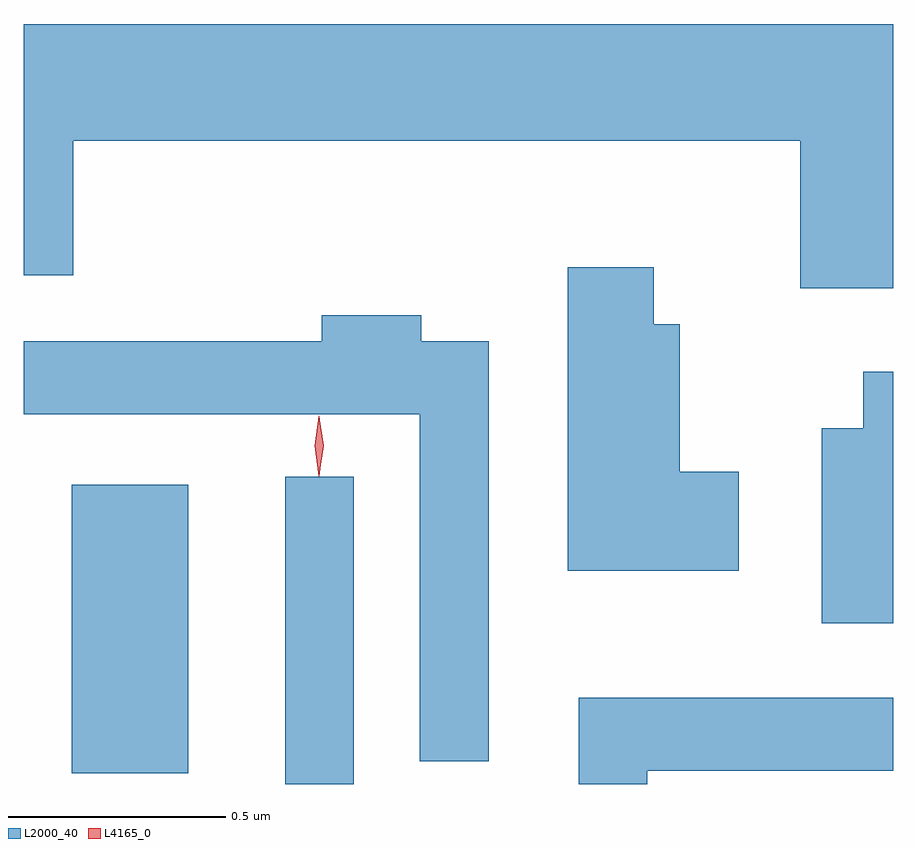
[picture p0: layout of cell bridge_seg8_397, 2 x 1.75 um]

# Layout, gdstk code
import gdstk
lib = gdstk.Library(unit=1e-6, precision=1e-09)
def R(c, l, rs):  # rectangles x0, y0, x1, y1
    for r in rs: c.add(gdstk.rectangle(r[:2], r[2:], *l))
def P(c, l, *ps):  # polygons
    for p in ps: c.add(gdstk.Polygon(p, *l))
L2000_40 = (2000, 40)
L4165_0 = (4165, 0)

bridge_seg8_397 = lib.new_cell('bridge_seg8_397')
R(bridge_seg8_397, L2000_40, [(683.806,1897.096,683.964,1897.803), (683.316,1897.121,683.584,1897.784)])
P(bridge_seg8_397, L2000_40, [(685.205,1898.844),(683.205,1898.844),(683.205,1898.266),(683.319,1898.266),(683.319,1898.576),(684.991,1898.576),(684.991,1898.236),(685.205,1898.236)],
  [(684.849,1897.814),(684.714,1897.814),(684.714,1898.154),(684.654,1898.154),(684.654,1898.284),(684.456,1898.284),(684.456,1897.586),(684.849,1897.586)],
  [(684.274,1898.114),(684.119,1898.114),(684.119,1898.174),(683.891,1898.174),(683.891,1898.114),(683.205,1898.114),(683.205,1897.946),(684.116,1897.946),(684.116,1897.148),(684.274,1897.148)],
  [(685.205,1898.044),(685.136,1898.044),(685.136,1897.914),(685.041,1897.914),(685.041,1897.466),(685.205,1897.466)],
  [(684.639,1897.126),(685.205,1897.126),(685.205,1897.294),(684.481,1897.294),(684.481,1897.096),(684.639,1897.096)])
P(bridge_seg8_397, L4165_0, [(683.885,1897.807),(683.884,1897.808),(683.875,1897.874),(683.884,1897.94),(683.885,1897.94),(683.885,1897.94),(683.895,1897.874),(683.885,1897.808)],
  [(683.884,1897.804),(683.884,1897.804),(683.874,1897.874),(683.884,1897.942),(683.884,1897.943),(683.885,1897.942),(683.894,1897.874),(683.885,1897.804)])

lib.write_gds('bridge_seg8_397.gds')
